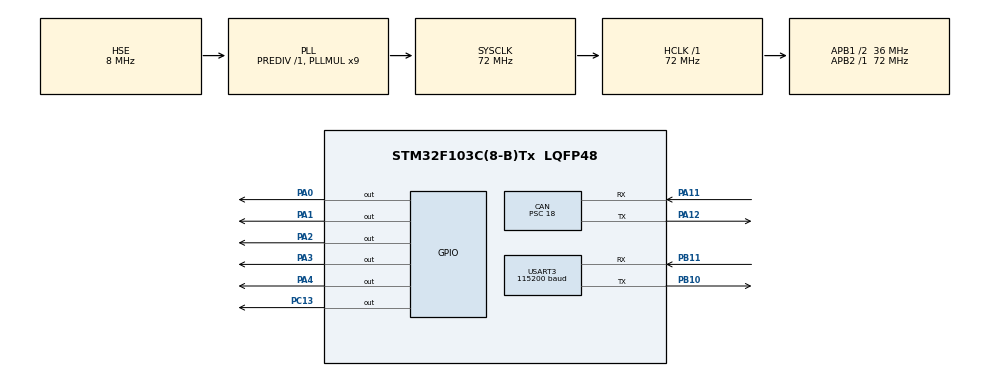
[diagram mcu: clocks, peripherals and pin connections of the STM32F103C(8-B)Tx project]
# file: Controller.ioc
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CAN.BS1=CAN_BS1_2TQ
CAN.CalculateBaudRate=500000
CAN.CalculateTimeBit=2000
CAN.CalculateTimeQuantum=500.0
CAN.Prescaler=18
Dma.Request0=USART3_RX
Dma.Request1=USART3_TX
Dma.USART3_RX.0.Direction=DMA_PERIPH_TO_MEMORY
Dma.USART3_RX.0.Instance=DMA1_Channel3
Dma.USART3_RX.0.MemDataAlignment=DMA_MDATAALIGN_BYTE
Dma.USART3_RX.0.MemInc=DMA_MINC_ENABLE
Dma.USART3_RX.0.Mode=DMA_CIRCULAR
Dma.USART3_RX.0.PeriphDataAlignment=DMA_PDATAALIGN_BYTE
Dma.USART3_RX.0.PeriphInc=DMA_PINC_DISABLE
Dma.USART3_RX.0.Priority=DMA_PRIORITY_HIGH
Dma.USART3_TX.1.Direction=DMA_MEMORY_TO_PERIPH
Dma.USART3_TX.1.Instance=DMA1_Channel2
Dma.USART3_TX.1.MemDataAlignment=DMA_MDATAALIGN_BYTE
Dma.USART3_TX.1.MemInc=DMA_MINC_ENABLE
Dma.USART3_TX.1.Mode=DMA_CIRCULAR
Dma.USART3_TX.1.PeriphDataAlignment=DMA_PDATAALIGN_BYTE
Dma.USART3_TX.1.PeriphInc=DMA_PINC_DISABLE
Dma.USART3_TX.1.Priority=DMA_PRIORITY_LOW
Mcu.Family=STM32F1
Mcu.Name=STM32F103C(8-B)Tx
Mcu.Package=LQFP48
NVIC.CAN1_RX1_IRQn=true\:2\:0\:true\:false\:true\:true\:true\:true
NVIC.DMA1_Channel2_IRQn=true\:0\:0\:false\:false\:true\:false\:true\:true
NVIC.DMA1_Channel3_IRQn=true\:0\:0\:false\:false\:true\:false\:true\:true
NVIC.PriorityGroup=NVIC_PRIORITYGROUP_4
NVIC.USART3_IRQn=true\:0\:0\:true\:false\:true\:true\:true\:true
NVIC.USB_LP_CAN1_RX0_IRQn=true\:2\:0\:true\:false\:true\:true\:true\:true
PA0-WKUP.GPIO_ModeDefaultOutputPP=GPIO_MODE_OUTPUT_PP
PA0-WKUP.GPIO_PuPd=GPIO_NOPULL
PA0-WKUP.GPIO_Speed=GPIO_SPEED_FREQ_LOW
PA0-WKUP.PinState=GPIO_PIN_RESET
PA0-WKUP.Signal=GPIO_Output
PA1.GPIO_ModeDefaultOutputPP=GPIO_MODE_OUTPUT_PP
PA1.GPIO_PuPd=GPIO_NOPULL
PA1.GPIO_Speed=GPIO_SPEED_FREQ_LOW
PA1.PinState=GPIO_PIN_RESET
PA1.Signal=GPIO_Output
PA11.Mode=CAN_Activate
PA11.Signal=CAN_RX
PA12.Mode=CAN_Activate
PA12.Signal=CAN_TX
PA13.Mode=Serial_Wire
PA13.Signal=SYS_JTMS-SWDIO
PA14.Mode=Serial_Wire
PA14.Signal=SYS_JTCK-SWCLK
PA2.GPIO_ModeDefaultOutputPP=GPIO_MODE_OUTPUT_PP
PA2.GPIO_PuPd=GPIO_NOPULL
PA2.GPIO_Speed=GPIO_SPEED_FREQ_LOW
PA2.PinState=GPIO_PIN_RESET
PA2.Signal=GPIO_Output
PA3.GPIO_ModeDefaultOutputPP=GPIO_MODE_OUTPUT_PP
PA3.GPIO_PuPd=GPIO_NOPULL
PA3.GPIO_Speed=GPIO_SPEED_FREQ_LOW
PA3.PinState=GPIO_PIN_RESET
PA3.Signal=GPIO_Output
PA4.GPIO_ModeDefaultOutputPP=GPIO_MODE_OUTPUT_PP
PA4.GPIO_PuPd=GPIO_NOPULL
PA4.GPIO_Speed=GPIO_SPEED_FREQ_LOW
PA4.PinState=GPIO_PIN_RESET
PA4.Signal=GPIO_Output
PB10.Mode=Asynchronous
PB10.Signal=USART3_TX
PB11.Mode=Asynchronous
PB11.Signal=USART3_RX
PC13-TAMPER-RTC.GPIO_PuPd=GPIO_PULLUP
PC13-TAMPER-RTC.Signal=GPIO_Output
PC14-OSC32_IN.Mode=LSE-External-Oscillator
PC14-OSC32_IN.Signal=RCC_OSC32_IN
PC15-OSC32_OUT.Mode=LSE-External-Oscillator
PC15-OSC32_OUT.Signal=RCC_OSC32_OUT
PD0-OSC_IN.Mode=HSE-External-Oscillator
PD0-OSC_IN.Signal=RCC_OSC_IN
PD1-OSC_OUT.Mode=HSE-External-Oscillator
PD1-OSC_OUT.Signal=RCC_OSC_OUT
ProjectManager.HeapSize=0x200
ProjectManager.StackSize=0x400
ProjectManager.TargetToolchain=MDK-ARM V5.32
RCC.AHBFreq_Value=72000000
RCC.APB1CLKDivider=RCC_HCLK_DIV2
RCC.APB1Freq_Value=36000000
RCC.APB1TimFreq_Value=72000000
RCC.APB2Freq_Value=72000000
RCC.APB2TimFreq_Value=72000000
RCC.HCLKFreq_Value=72000000
RCC.PLLMUL=RCC_PLL_MUL9
RCC.PLLSourceVirtual=RCC_PLLSOURCE_HSE
RCC.SYSCLKFreq_VALUE=72000000
RCC.SYSCLKSource=RCC_SYSCLKSOURCE_PLLCLK
RCC.USBFreq_Value=72000000
USART3.BaudRate=115200
USART3.VirtualMode=VM_ASYNC
board=custom

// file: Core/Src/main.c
/* USER CODE BEGIN Header */
/**
  ******************************************************************************
  * @file           : main.c
  * @brief          : Main program body
  ******************************************************************************
  * @attention
  *
  * Copyright (c) 2023 STMicroelectronics.
  * All rights reserved.
  *
  * This software is licensed under terms that can be found in the LICENSE file
  * in the root directory of this software component.
  * If no LICENSE file comes with this software, it is provided AS-IS.
  *
  ******************************************************************************
  */
/* USER CODE END Header */
#include "main.h"

/* USER CODE BEGIN Includes */
#include "stdio.h"
#include "convert_lib.h"
/* USER CODE END Includes */

/* USER CODE BEGIN PD */
#define MASTER_ID      			0x281
#define BACK   							0x012
#define FRONT   						0x274
#define BRAKE								0x222
#define ULTRASONIC_ID       0x112

/* USER CODE END PD */

CAN_HandleTypeDef hcan;

UART_HandleTypeDef huart3;
DMA_HandleTypeDef hdma_usart3_rx;
DMA_HandleTypeDef hdma_usart3_tx;

/* USER CODE BEGIN PV */
// controller variable

uint32_t back_adc_p = 0;
uint32_t front_adc_p = 0;
uint32_t brake_adc_p = 0;

uint8_t countSend =0 ;
uint8_t count;
uint8_t buffer;
uint8_t dataBuff[9];
//char data_y[20];
//char data_v[20];
//char data_d[20];
//char data_a[20];
//char data_us[21];
char DMAdataSend[21];

typedef struct
{
	char Dir;
	uint16_t val;
}dataIn;

dataIn dataInBackWheel;
dataIn dataInFrontWheel;
dataIn dataInBrake;

typedef struct
{
	char type;
	float value;
}dataCAN;

typedef struct
{
	char type;
	uint32_t value;
}dataCANfront;

dataCAN dataCANvel = {.type = 'V'};
dataCAN dataCANpos = {.type = 'P'};
dataCAN dataCANyaw = {.type = 'Y'};
dataCANfront dataCANangularVel = {.type = 'A'};

typedef struct
{
	char type;
	uint16_t outside;
	uint16_t center;
}ultraSonicDataCAN;

ultraSonicDataCAN ultraSonicLeft = {.type = 'L'};
ultraSonicDataCAN ultraSonicRight = {.type = 'R'};

// CAN protocol variable
CAN_HandleTypeDef     CanHandle;
CAN_TxHeaderTypeDef   TxHeader;
CAN_RxHeaderTypeDef   RxHeader;
uint8_t              	TxBack[8];
uint8_t              	TxFront[8];
uint8_t								TxBrake[8];
uint8_t               RxData[8];
uint32_t              TxMailbox;

/* USER CODE END PV */

void SystemClock_Config(void);
static void MX_GPIO_Init(void);
static void MX_DMA_Init(void);
static void MX_CAN_Init(void);
static void MX_USART3_UART_Init(void);
/* USER CODE BEGIN PFP */

void WriteCAN(uint16_t ID,uint8_t *data);
void HAL_CAN_RxFifo0MsgPendingCallback(CAN_HandleTypeDef *hcan);
void assignUint32_tChar8byte(uint32_t value, char* buffer);
void HAL_UART_RxCpltCallback(UART_HandleTypeDef *huart);
void HAL_UART_TxCpltCallback(UART_HandleTypeDef *huart);
void clearBuffer (uint8_t *buff);
void updateData (uint8_t checkType,uint8_t *data);

/* USER CODE END PFP */

int main(void)
{

  /* MCU Configuration--------------------------------------------------------*/

  /* Reset of all peripherals, Initializes the Flash interface and the Systick. */
  HAL_Init();

  /* Configure the system clock */
  SystemClock_Config();

  /* Initialize all configured peripherals */
  MX_GPIO_Init();
  MX_DMA_Init();
  MX_CAN_Init();
  MX_USART3_UART_Init();
  /* USER CODE BEGIN 2 */

	HAL_CAN_Start(&hcan);
	HAL_CAN_ActivateNotification(&hcan, CAN_IT_RX_FIFO0_MSG_PENDING);

  TxHeader.DLC = 8;
  TxHeader.ExtId = 0;
  TxHeader.IDE = CAN_ID_STD;
  TxHeader.RTR = CAN_RTR_DATA;
  TxHeader.TransmitGlobalTime = DISABLE;

	HAL_UART_Receive_DMA(&huart3, &buffer, 1);
	HAL_UART_Transmit_DMA(&huart3, (uint8_t*) DMAdataSend, sizeof(DMAdataSend));

  /* USER CODE END 2 */

  /* Infinite loop */
  while (1)
  {

	}
}

void SystemClock_Config(void)
{
  RCC_OscInitTypeDef RCC_OscInitStruct = {0};
  RCC_ClkInitTypeDef RCC_ClkInitStruct = {0};

  /** Initializes the RCC Oscillators according to the specified parameters
  * in the RCC_OscInitTypeDef structure.
  */
  RCC_OscInitStruct.OscillatorType = RCC_OSCILLATORTYPE_HSE;
  RCC_OscInitStruct.HSEState = RCC_HSE_ON;
  RCC_OscInitStruct.HSEPredivValue = RCC_HSE_PREDIV_DIV1;
  RCC_OscInitStruct.HSIState = RCC_HSI_ON;
  RCC_OscInitStruct.PLL.PLLState = RCC_PLL_ON;
  RCC_OscInitStruct.PLL.PLLSource = RCC_PLLSOURCE_HSE;
  RCC_OscInitStruct.PLL.PLLMUL = RCC_PLL_MUL9;
  if (HAL_RCC_OscConfig(&RCC_OscInitStruct) != HAL_OK)
  {
    Error_Handler();
  }

  /** Initializes the CPU, AHB and APB buses clocks
  */
  RCC_ClkInitStruct.ClockType = RCC_CLOCKTYPE_HCLK|RCC_CLOCKTYPE_SYSCLK
                              |RCC_CLOCKTYPE_PCLK1|RCC_CLOCKTYPE_PCLK2;
  RCC_ClkInitStruct.SYSCLKSource = RCC_SYSCLKSOURCE_PLLCLK;
  RCC_ClkInitStruct.AHBCLKDivider = RCC_SYSCLK_DIV1;
  RCC_ClkInitStruct.APB1CLKDivider = RCC_HCLK_DIV2;
  RCC_ClkInitStruct.APB2CLKDivider = RCC_HCLK_DIV1;

  if (HAL_RCC_ClockConfig(&RCC_ClkInitStruct, FLASH_LATENCY_2) != HAL_OK)
  {
    Error_Handler();
  }
}

static void MX_CAN_Init(void)
{

  hcan.Instance = CAN1;
  hcan.Init.Prescaler = 18;
  hcan.Init.Mode = CAN_MODE_NORMAL;
  hcan.Init.SyncJumpWidth = CAN_SJW_1TQ;
  hcan.Init.TimeSeg1 = CAN_BS1_2TQ;
  hcan.Init.TimeSeg2 = CAN_BS2_1TQ;
  hcan.Init.TimeTriggeredMode = DISABLE;
  hcan.Init.AutoBusOff = DISABLE;
  hcan.Init.AutoWakeUp = DISABLE;
  hcan.Init.AutoRetransmission = DISABLE;
  hcan.Init.ReceiveFifoLocked = DISABLE;
  hcan.Init.TransmitFifoPriority = DISABLE;
  if (HAL_CAN_Init(&hcan) != HAL_OK)
  {
    Error_Handler();
  }
  /* USER CODE BEGIN CAN_Init 2 */
  CAN_FilterTypeDef canfilterconfig;

  canfilterconfig.FilterActivation = CAN_FILTER_ENABLE;
  canfilterconfig.FilterBank = 0;
  canfilterconfig.FilterFIFOAssignment = CAN_RX_FIFO0;
  canfilterconfig.FilterIdHigh = 0x0000;
  canfilterconfig.FilterIdLow = 0x0000;
  canfilterconfig.FilterMaskIdHigh = 0x0000;
  canfilterconfig.FilterMaskIdLow = 0x0000;
  canfilterconfig.FilterMode = CAN_FILTERMODE_IDMASK;
  canfilterconfig.FilterScale = CAN_FILTERSCALE_32BIT;
  canfilterconfig.SlaveStartFilterBank = 13;

  HAL_CAN_ConfigFilter(&hcan, &canfilterconfig);
  /* USER CODE END CAN_Init 2 */

}

static void MX_USART3_UART_Init(void)
{

  huart3.Instance = USART3;
  huart3.Init.BaudRate = 115200;
  huart3.Init.WordLength = UART_WORDLENGTH_8B;
  huart3.Init.StopBits = UART_STOPBITS_1;
  huart3.Init.Parity = UART_PARITY_NONE;
  huart3.Init.Mode = UART_MODE_TX_RX;
  huart3.Init.HwFlowCtl = UART_HWCONTROL_NONE;
  huart3.Init.OverSampling = UART_OVERSAMPLING_16;
  if (HAL_UART_Init(&huart3) != HAL_OK)
  {
    Error_Handler();
  }

}

static void MX_DMA_Init(void)
{

  /* DMA controller clock enable */
  __HAL_RCC_DMA1_CLK_ENABLE();

  /* DMA interrupt init */
  /* DMA1_Channel2_IRQn interrupt configuration */
  HAL_NVIC_SetPriority(DMA1_Channel2_IRQn, 0, 0);
  HAL_NVIC_EnableIRQ(DMA1_Channel2_IRQn);
  /* DMA1_Channel3_IRQn interrupt configuration */
  HAL_NVIC_SetPriority(DMA1_Channel3_IRQn, 0, 0);
  HAL_NVIC_EnableIRQ(DMA1_Channel3_IRQn);

}

static void MX_GPIO_Init(void)
{
  GPIO_InitTypeDef GPIO_InitStruct = {0};

  /* GPIO Ports Clock Enable */
  __HAL_RCC_GPIOC_CLK_ENABLE();
  __HAL_RCC_GPIOD_CLK_ENABLE();
  __HAL_RCC_GPIOA_CLK_ENABLE();
  __HAL_RCC_GPIOB_CLK_ENABLE();

  /*Configure GPIO pin Output Level */
  HAL_GPIO_WritePin(GPIOC, GPIO_PIN_13, GPIO_PIN_RESET);

  /*Configure GPIO pin Output Level */
  HAL_GPIO_WritePin(GPIOA, GPIO_PIN_0|GPIO_PIN_1|GPIO_PIN_2|GPIO_PIN_3
                          |GPIO_PIN_4, GPIO_PIN_RESET);

  /*Configure GPIO pin : PC13 */
  GPIO_InitStruct.Pin = GPIO_PIN_13;
  GPIO_InitStruct.Mode = GPIO_MODE_OUTPUT_PP;
  GPIO_InitStruct.Pull = GPIO_PULLUP;
  GPIO_InitStruct.Speed = GPIO_SPEED_FREQ_LOW;
  HAL_GPIO_Init(GPIOC, &GPIO_InitStruct);

  /*Configure GPIO pins : PA0 PA1 PA2 PA3
                           PA4 */
  GPIO_InitStruct.Pin = GPIO_PIN_0|GPIO_PIN_1|GPIO_PIN_2|GPIO_PIN_3
                          |GPIO_PIN_4;
  GPIO_InitStruct.Mode = GPIO_MODE_OUTPUT_PP;
  GPIO_InitStruct.Pull = GPIO_NOPULL;
  GPIO_InitStruct.Speed = GPIO_SPEED_FREQ_LOW;
  HAL_GPIO_Init(GPIOA, &GPIO_InitStruct);

}

/* USER CODE BEGIN 4 */

void WriteCAN(uint16_t ID,uint8_t *data)
{
	uint8_t dataOut[8];
	TxHeader.StdId = ID;
	dataOut[0] = data[0];
	dataOut[1] = data[1];
	dataOut[2] = data[2];
	dataOut[3] = data[3];
	dataOut[4] = data[4];
	dataOut[5] = data[5];
	dataOut[6] = data[6];
	dataOut[7] = data[7];

	if (HAL_CAN_AddTxMessage(&hcan, &TxHeader, dataOut, &TxMailbox) != HAL_OK)
  {
    Error_Handler();
  }
}
void HAL_CAN_RxFifo0MsgPendingCallback(CAN_HandleTypeDef *hcan)
{
	if(HAL_CAN_GetRxMessage(hcan, CAN_RX_FIFO0, &RxHeader, RxData)== HAL_OK)
	{
		if(RxHeader.StdId==MASTER_ID)
		{

			if(RxData[3]== dataCANvel.type)
			{
				dataCANvel.value = convert8ByteToFloat(RxData,4,7);
				HAL_GPIO_TogglePin(GPIOA, GPIO_PIN_2);
			}

			else if(RxData[3]== dataCANpos.type)
			{
				dataCANpos.value = convert8ByteToFloat(RxData,4,7);
				HAL_GPIO_TogglePin(GPIOA, GPIO_PIN_1);
			}

			else if(RxData[3]== dataCANyaw.type)
			{
				dataCANyaw.value = convert8ByteToFloat(RxData,4,7);
				HAL_GPIO_TogglePin(GPIOA, GPIO_PIN_0);
			}
			else if(RxData[3]== ultraSonicLeft.type)
			{
				ultraSonicLeft.outside = convert8byteToUint16_t(RxData,6,7);
				ultraSonicLeft.center = convert8byteToUint16_t(RxData,4,5);
				HAL_GPIO_TogglePin(GPIOA, GPIO_PIN_3);
			}
			else if(RxData[3]== ultraSonicRight.type)
			{
				ultraSonicRight.outside = convert8byteToUint16_t(RxData,6,7);
				ultraSonicRight.center = convert8byteToUint16_t(RxData,4,5);
				HAL_GPIO_TogglePin(GPIOA, GPIO_PIN_3);
			}
			else if(RxData[3]== dataCANangularVel.type)
			{
				dataCANangularVel.value = convert8byteToUint32_t(RxData,4,7);
				HAL_GPIO_TogglePin(GPIOA, GPIO_PIN_4);
			}
		}
	}
}

void HAL_UART_TxCpltCallback(UART_HandleTypeDef *huart)
{
		for(int i=0;i<21;i++)
		{
			DMAdataSend[i]= 0;
		}
		switch (countSend)
    {
    	case 0:
				sprintf(DMAdataSend,"\nY%.1f",dataCANyaw.value);
    		break;
    	case 2:
				sprintf(DMAdataSend,"\nD%.1f",dataCANpos.value);
    		break;
    	case 4:
				sprintf(DMAdataSend,"\nV%.1f",dataCANvel.value);
    		break;
			case 6:
				sprintf(DMAdataSend,"\nA%d",dataCANangularVel.value);
    		break;
			case 8:
//				sprintf(DMAdataSend,"\nU%d,%d,%d,%d",ultraSonicLeft.outside,ultraSonicLeft.center,ultraSonicRight.center,ultraSonicRight.outside);
    		break;
    }
		countSend++;
		if (countSend >10)countSend =0;
}

void HAL_UART_RxCpltCallback(UART_HandleTypeDef *huart)
{
	if(huart->Instance == USART3)
	{
		if (buffer != 10)
		{
			dataBuff[count] = buffer;
			count++;
		}
		else if (buffer == 10)
		{
			updateData (dataBuff[0], dataBuff);
			clearBuffer(dataBuff);
		}
	}
}

void clearBuffer (uint8_t *buff)
{
	for(int i=0;i<9;i++)
  {
		buff[i]= 0;
  }
	count=0;
}
void updateData (uint8_t checkType, uint8_t *data)
{
	switch (checkType)
  {
  	case 'B':
			dataInBackWheel.Dir = dataBuff[1];
			CharToNum (&dataInBackWheel.val, dataBuff, 2);
			TxBack[6] = dataInBackWheel.Dir;
			TxBack[7] = dataInBackWheel.val;
			WriteCAN(BACK,TxBack);
  		break;
		case 'F':
			CharToNum (&dataInFrontWheel.val, dataBuff, 2);
			TxFront[3] = dataBuff[1];
			convertUint32_tTo8byte(dataInFrontWheel.val,TxFront,4,7);
			WriteCAN(FRONT,TxFront);
  		break;
		case 'P':
			CharToNum (&dataInBrake.val, dataBuff, 1);
  		break;
  }
}

/* USER CODE END 4 */

void Error_Handler(void)
{
  __disable_irq();
  while (1)
  {
  }
}
